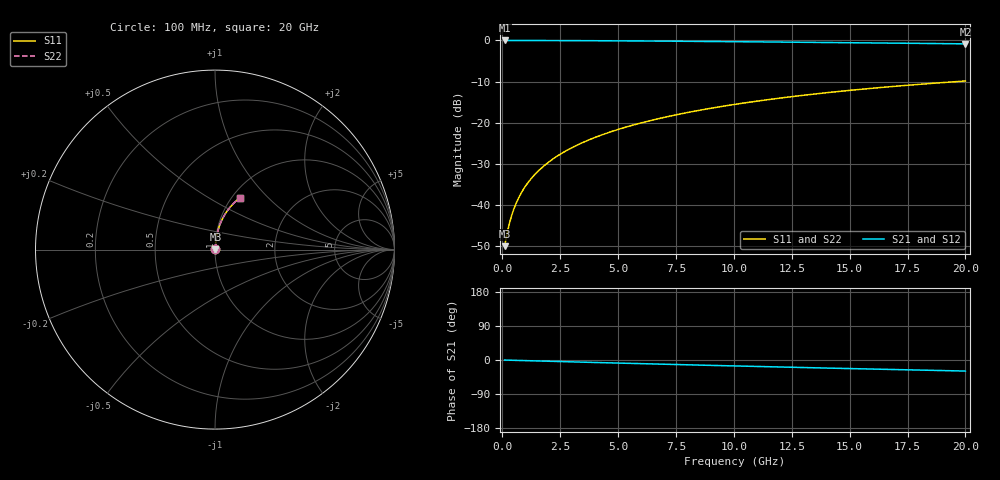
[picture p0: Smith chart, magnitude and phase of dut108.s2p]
! Touchstone file exported from HFSS 2024.1.0
!  File:  C:/UserFiles/LocalFiles/RDL_TSV_Batchsim/temp_RDL_top_108_1778683509.aedt
!  Generated:  10:47:34 PM May 13, 2026
!  Design:  RDL_top
!  Project:  temp_RDL_top_108_1778683509
!  Setup:  Setup1
!  Solution:  Sweep
! Variables:
!  dtsv = 10.80580581um
!  hbump = 3um
!  htsv = 95.86um
!  ldown = 100um
!  lrdl = 382.14um
!  p = 40
!  p1 = 43.37um
!  rhole = 1um
!  t = 450um
!  tdown = 3.915915916um
!  trdl = 3.6um
!  wdown = 15.38538539um
!  wrdl = 15.08um
# GHz S MA R 50.000000
! Terminal data exported
! Port[1] = Box2_T1
! Port[2] = Box2_T2
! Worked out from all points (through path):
!   200 points, 100 MHz to 20 GHz, reference 50 ohm
!   highest |S21| = -0.02 dB at 100 MHz (marker M1); lowest = -0.8 dB at 20 GHz (marker M2)
!   group delay of S21, straight-line fit = 4.04 ps
!   lowest |S11| = -50.0 dB at 100 MHz (marker M3), VSWR 1.01, Z = 50.3 + j0.176 ohm
!   |S11| at or under -10 dB: start of sweep to 19.66 GHz
!   |S22| runs from -50.0 to -9.9 dB; largest |S21 - S12| = 3.6e-15
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0.1  0.003161 33.5  0.9974 -0.2  0.9974 -0.2  0.003161 33.5
! Gamma 0 0 0 0
! Port Impedance 50 0 50 0
0.2  0.004397 52.1  0.9973 -0.3  0.9973 -0.3  0.004397 52.1
0.3  0.005865 61.6  0.9972 -0.5  0.9972 -0.5  0.005865 61.6
0.4  0.007404 67.1  0.9971 -0.7  0.9971 -0.7  0.007404 67.1
0.5  0.008968 70.7  0.997 -0.8  0.997 -0.8  0.008968 70.7
0.6  0.01054 73.2  0.9969 -1.0  0.9969 -1.0  0.01054 73.2
0.8  0.01372 76.5  0.9967 -1.3  0.9967 -1.3  0.01372 76.5
1.1  0.01853 79.3  0.9964 -1.8  0.9964 -1.8  0.01853 79.3
1.3  0.02176 80.5  0.9961 -2.2  0.9961 -2.2  0.02176 80.5
1.6  0.02663 81.6  0.9957 -2.7  0.9957 -2.7  0.02663 81.6
2.1  0.03479 82.6  0.9949 -3.5  0.9949 -3.5  0.03479 82.6
2.7  0.04463 83.1  0.9937 -4.4  0.9937 -4.4  0.04463 83.1
3.5  0.05783 83.2  0.9917 -5.7  0.9917 -5.7  0.05783 83.2
4.2  0.06942 82.9  0.9896 -6.9  0.9896 -6.9  0.06942 82.9
5  0.08273 82.4  0.9868 -8.1  0.9868 -8.1  0.08273 82.4
5.9  0.09774 81.6  0.9833 -9.5  0.9833 -9.5  0.09774 81.6
6.8  0.1128 80.8  0.9795 -10.9  0.9795 -10.9  0.1128 80.8
8.3  0.1379 79.2  0.9726 -13.2  0.9726 -13.2  0.1379 79.2
10.1  0.1678 77.0  0.9637 -15.8  0.9637 -15.8  0.1678 77.0
13.4  0.2216 72.8  0.9459 -20.5  0.9459 -20.5  0.2216 72.8
16.7  0.2729 68.5  0.9269 -24.9  0.9269 -24.9  0.2729 68.5
20  0.321 64.2  0.9069 -29.2  0.9069 -29.2  0.321 64.2
